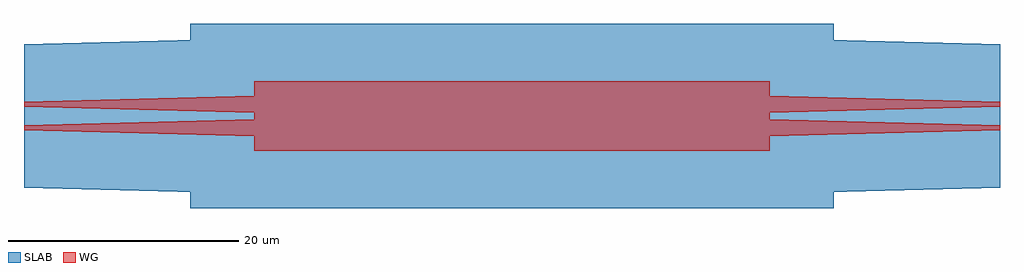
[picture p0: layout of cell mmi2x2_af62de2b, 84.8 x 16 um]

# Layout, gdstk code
import gdstk
lib = gdstk.Library(unit=1e-6, precision=1e-09)
def R(c, l, rs):  # rectangles x0, y0, x1, y1
    for r in rs: c.add(gdstk.rectangle(r[:2], r[2:], *l))
def P(c, l, *ps):  # polygons
    for p in ps: c.add(gdstk.Polygon(p, *l))
WG = (3, 0)
SLAB = (5, 0)

mmi2x2_af62de2b = lib.new_cell('mmi2x2_af62de2b')
R(mmi2x2_af62de2b, WG, [(0,-3,44.8,3)])
P(mmi2x2_af62de2b, WG, [(-20,-0.79),(0,-0.265),(0,-1.765),(-20,-1.24)],
  [(-20,1.24),(0,1.765),(0,0.265),(-20,0.79)],
  [(64.8,0.79),(44.8,0.265),(44.8,1.765),(64.8,1.24)],
  [(64.8,-1.24),(44.8,-1.765),(44.8,-0.265),(64.8,-0.79)])
R(mmi2x2_af62de2b, SLAB, [(-5.55,-8,50.35,8)])
P(mmi2x2_af62de2b, SLAB, [(-20,4.21),(0,4.735),(0,-6.765),(-20,-6.24)],
  [(-20,6.24),(0,6.765),(0,-4.735),(-20,-4.21)],
  [(64.8,-4.21),(44.8,-4.735),(44.8,6.765),(64.8,6.24)],
  [(64.8,-6.24),(44.8,-6.765),(44.8,4.735),(64.8,4.21)])

lib.write_gds('mmi2x2_af62de2b.gds')
